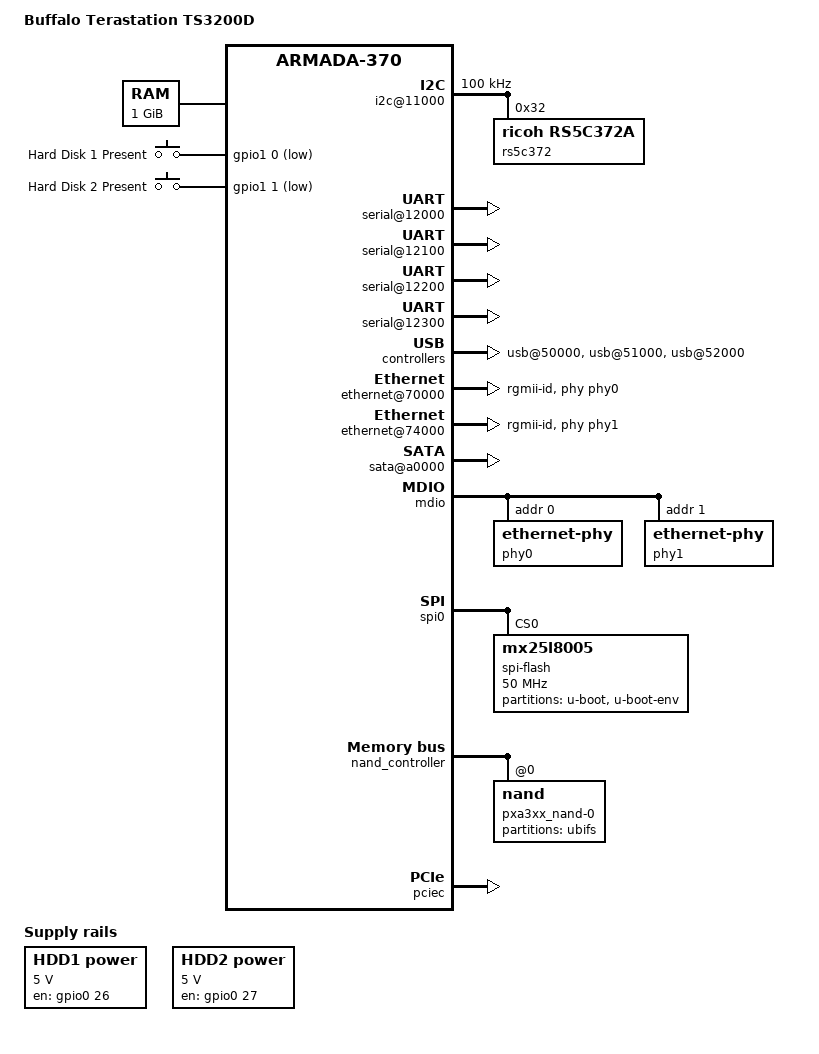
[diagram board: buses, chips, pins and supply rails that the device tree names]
// SPDX-License-Identifier: (GPL-2.0+ OR MIT)
/*
* Device Tree file for Buffalo Terastation TS3200D
*
* Jeremy J. Peper, based on device trees created by
* Steve Shih <shihsung@gmail.com> and Toha <tohenk@yahoo.com>
*
*/

/dts-v1/;

#include <dt-bindings/input/input.h>
#include <dt-bindings/gpio/gpio.h>
#include "armada-xp-mv78230.dtsi"

/ {
	model = "Buffalo Terastation TS3200D";
	compatible = "buffalo,ts3200d", "marvell,armadaxp-mv78230", "marvell,armadaxp", "marvell,armada-370-xp";

	aliases
	{
		serial0 = &uart0;
		serial1 = &uart3;
		serial2 = &uart1;
		serial3 = &uart2;
	};

	chosen
	{
		bootargs = "earlyprintk boot=local";
		stdout-path = "serial0:115200n8";
	};

	memory
	{
		device_type = "memory";
		reg = <0 0x00000000 0 0x40000000>; /* 1GB */
	};

	soc
	{
		ranges = <MBUS_ID(0xf0, 0x01) 0 0 0xd0000000 0x100000
			 MBUS_ID(0x01, 0x1d) 0 0 0xfff00000 0x100000
			 MBUS_ID(0x09, 0x09) 0 0 0xf1100000 0x10000
			 MBUS_ID(0x09, 0x05) 0 0 0xf1110000 0x10000>;

		internal-regs
		{
			rtc@10300
			{
				status = "disabled";
			};

			i2c@11000
			{
				status = "okay";
				clock-frequency = <100000>;

				rs5c372: rs5c372@32
				{
					compatible = "ricoh,rs5c372a";
					reg = <0x32>;
				};
			};

			serial@12000
			{
				status = "okay";
			};

			//back serial port
			serial@12100
			{
				status = "okay";
			};

			serial@12200
			{
				status = "okay";
			};

			//microcontroller interface, see https://github.com/1000001101000/Python_buffalo_libmicon
			serial@12300
			{
				status = "okay";
			};

			timer@20300
			{
				status = "okay";
			};

			usb@50000
			{
				status = "okay";
			};

			usb@51000
			{
				status = "okay";
			};

			usb@52000
			{
				status = "okay";
			};

			ethernet@70000
			{
				status = "okay";
				phy = <&phy0>;
				phy-mode = "rgmii-id";
			};
 
			ethernet@74000
			{
				status = "okay";
				phy = <&phy1>;
				phy-mode = "rgmii-id";
			};

			sata@a0000
			{
				nr-ports = <2>;
				status = "okay";
			};
		};
	};

	regulators
	{
		compatible = "simple-bus";
		#address-cells = <1>;
		#size-cells = <0>;
		pinctrl-0 = <&hdd_pwr1 &hdd_pwr2>;
		pinctrl-names = "default";

		regulator@1
		{
			compatible = "regulator-fixed";
			reg = <1>;
			regulator-name = "HDD1 power";
			regulator-min-microvolt = <5000000>;
			regulator-max-microvolt = <5000000>;
			enable-active-high;
			regulator-always-on;
			regulator-boot-on;
			gpio = <&gpio0 26 GPIO_ACTIVE_HIGH>;
		};

		regulator@2
		{
			compatible = "regulator-fixed";
			reg = <2>;
			regulator-name = "HDD2 power";
			regulator-min-microvolt = <5000000>;
			regulator-max-microvolt = <5000000>;
			enable-active-high;
			regulator-always-on;
			regulator-boot-on;
			gpio = <&gpio0 27 GPIO_ACTIVE_HIGH>;
		};
	};


	restart_poweroff
	{
		compatible = "restart-poweroff";
	};

	gpio-keys
	{
		compatible = "gpio-keys";
		pinctrl-0 = <&hdd1_present &hdd2_present>;
		pinctrl-names = "default";

		hdd1-present
		{
			label = "Hard Disk 1 Present";
			linux,code = <KEY_PROG1>;
			gpios = <&gpio1 0 GPIO_ACTIVE_LOW>;
		};

		hdd2-present
		{
			label = "Hard Disk 2 Present";
			linux,code = <KEY_PROG2>;
			gpios = <&gpio1 1 GPIO_ACTIVE_LOW>;

		};
	};

};

&mdio
{
	phy0: ethernet-phy@0
	{
		reg = <0>;
	};

	phy1: ethernet-phy@1
	{
		reg = <1>;
	};
};

&spi0
{
	status = "okay";

	spi-flash@0
	{
		#address-cells = <1>;
		#size-cells = <1>;
		compatible = "mx25l8005", "jedec,spi-nor";
		reg = <0>;
		spi-max-frequency = <50000000>;

		partition@00000
		{
			label = "u-boot";
			reg = <0x00000 0xf0000>;
			read-only;
		};

		partition@f0000
		{
			label = "u-boot-env";
			reg = <0xf0000 0x10000>;
			read-only;
		};
	};
};

&nand_controller
{
	status = "okay";

	nand@0
	{
		reg = <0>;
		label = "pxa3xx_nand-0";
		nand-rb = <0>;
		marvell,nand-keep-config;
		nand-on-flash-bbt;
		nand-ecc-strength = <4>;
		nand-ecc-step-size = <512>;
	
		partitions
		{
			compatible = "fixed-partitions";
			#address-cells = <1>;
			#size-cells = <1>;

			partition@0
			{
				label = "ubifs";
				reg = <0x00000000 0x20000000>;  /* 512MB */
			};
			
		};
	};
};

&pciec
{
	status = "okay";
	
	pcie@1,0
	{
		/* Port 0, Lane 0 */
		status = "okay";
	};

	pcie@5,0
	{
		/* Port 1, Lane 0 */
		status = "okay";
	};
};

&pinctrl
{
	hdd_pwr1: hdd-pwr1
	{
		marvell,pins = "mpp26";
		marvell,function = "gpio";
	};

	hdd_pwr2: hdd-pwr2
	{
		marvell,pins = "mpp27";
		marvell,function = "gpio";
	};

	hdd_pwr3: hdd-pwr3
	{
		marvell,pins = "mpp24";
		marvell,function = "gpio";
	};

	hdd_pwr4: hdd-pwr4
	{
		marvell,pins = "mpp29";
		marvell,function = "gpio";
	};

	hdd1_present: hdd1-present
	{
		marvell,pins = "mpp32";
		marvell,function = "gpio";
	};

	hdd2_present: hdd2-present
	{
		marvell,pins = "mpp33";
		marvell,function = "gpio";
	};
	
	hdd3_present: hdd3-present
	{
		marvell,pins = "mpp34";
		marvell,function = "gpio";
	};

	hdd4_present: hdd4-present
	{
		marvell,pins = "mpp35";
		marvell,function = "gpio";
	};};
